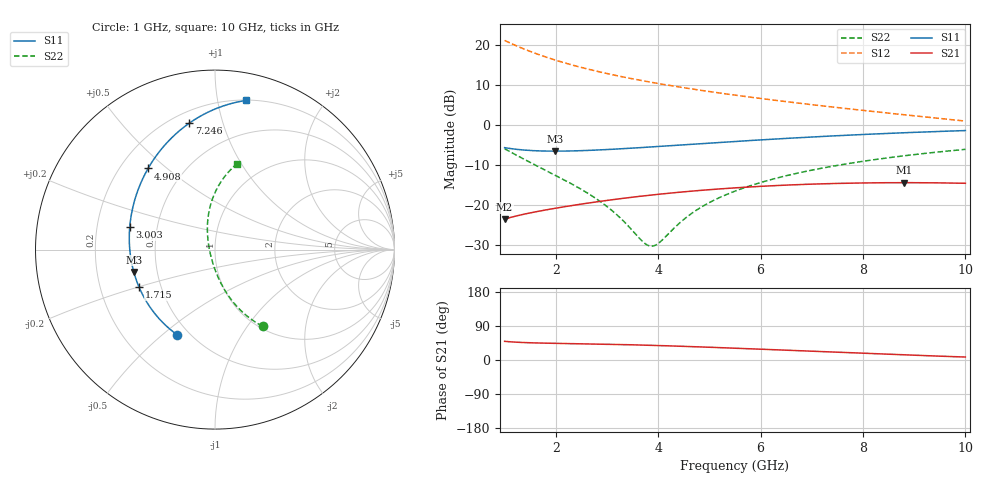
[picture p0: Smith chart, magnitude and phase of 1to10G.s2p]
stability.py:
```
import matplotlib.pyplot as plt
import numpy as np
import skrf as rf

plt.rcParams['figure.figsize'] = [8, 8]

# Load the S-parameter file
bjt = rf.Network('1to10G.s2p', )

# Define a function to calculate the square of the absolute value


def sqabs(x): return np.square(np.absolute(x))


# delta is the determinant of the S-parameter matrix
delta = bjt.s11.s * bjt.s22.s - bjt.s12.s * bjt.s21.s

# Source and load reflection coefficients
# rs and rl are the source and load reflection coefficients
# cs and cl are the source and load circle centers
rs = np.abs((bjt.s12.s * bjt.s21.s) / (sqabs(bjt.s11.s) - sqabs(delta)))
cs = np.conj(bjt.s11.s - delta * np.conj(bjt.s22.s)) / \
    (sqabs(bjt.s11.s) - sqabs(delta))
rl = np.abs((bjt.s12.s * bjt.s21.s) / (sqabs(bjt.s22.s) - sqabs(delta)))
cl = np.conj(bjt.s22.s - delta * np.conj(bjt.s11.s)) / \
    (sqabs(bjt.s22.s) - sqabs(delta))

# k calculation
k = (1 - sqabs(bjt.s11.s) - sqabs(bjt.s22.s) + sqabs(delta)) / \
    (2 * np.abs(bjt.s12.s * bjt.s21.s))

mu = (1 - sqabs(bjt.s11.s)) / (np.abs(bjt.s22.s -
                                      (delta*np.conj(bjt.s11.s)))+np.abs(bjt.s21.s*bjt.s12.s))

# MAximum available gain (MAG) calculation
MAG = np.abs(bjt.s12.s/bjt.s21.s) * (k-np.sqrt(np.square(k)-1))

# Function to generate stability circle points


def calc_circle(c, r):
    theta = np.linspace(0, 2*np.pi, 1000)
    return c + r * np.exp(1.0j*theta)


# Filter for 4 GHz
freq_idx = np.where(np.isclose(bjt.f, 4e9, atol=1e6))[
    0][0]
freq_point = bjt[freq_idx]

# Generate stability circles for 4 GHz
source_circle = calc_circle(cs[freq_idx][0, 0], rs[freq_idx][0, 0])
load_circle = calc_circle(cl[freq_idx][0, 0], rl[freq_idx][0, 0])

# Plot S11 and S22 for 4 GHz
plt.figure()
s11 = freq_point.s11.s[0, 0]  # Extrair o valor numérico de S11
s22 = freq_point.s22.s[0, 0]  # Extrair o valor numérico de S22
print('S11:', s11)
print('S22:', s22)
print('|s11|: ', np.abs(s11))
print('|s22|: ', np.abs(s22))

# Adicionar os valores numéricos ao gráfico
freq_point.plot_s_smith(
    m=0, n=0, label=f'S11 = {s11}', marker='o', color='green')  # S11
freq_point.plot_s_smith(
    m=1, n=1, label=f'S22 = {s22}', marker='o', color='purple')  # S22

# Calcular B1, B2, C1 e C2
delta4GHz = delta[freq_idx][0, 0]
print('delta4GHz:', delta4GHz)
B1 = 1 + sqabs(s11) - sqabs(s22) - sqabs(delta4GHz)
print('B1:', B1)
B2 = 1 + sqabs(s22) - sqabs(s11) - sqabs(delta4GHz)
print('B2:', B2)
C1 = s11 - (delta4GHz * np.conj(s22))
print('C1:', C1)
C2 = s22 - (delta4GHz * np.conj(s11))
print('C2:', C2)

# Calcular ros (ρs) e rol (ρL)
ros = (B1 - np.sqrt(np.square(B1) - 4 * sqabs(C1))) / (2 * C1)
rol = (B2 - np.sqrt(np.square(B2) - 4 * sqabs(C2))) / (2 * C2)

# Exibir os resultados para 4 GHz
print("Frequency (GHz):", bjt.f[freq_idx] / 1e9)
print("ros (ρs):", ros)
print("rol (ρL):", rol)

zs = (1 + ros) / (1 - ros)
print("zs:", zs)
zl = (1 + rol) / (1 - rol)
print("zl:", zl)

# Plot source stability circle
n_source = rf.Network(frequency=rf.Frequency(
    bjt.f[freq_idx], unit='Hz'), s=source_circle)
n_source.plot_s_smith(color='red', label='Source Stability Circle', marker='')

# Plot load stability circle
n_load = rf.Network(frequency=rf.Frequency(
    bjt.f[freq_idx], unit='Hz'), s=load_circle)
n_load.plot_s_smith(color='blue', label='Load Stability Circle', marker='')

rf.plotting.plot_smith(zl, marker='o', color='blue',
                       label=f'Zl = {zl}')  # Plot Zl
rf.plotting.plot_smith(zs, marker='o', color='red',
                       label=f'Zs = {zs}')  # Plot Z

plt.title(f'Frequency: {bjt.f[freq_idx]/1e9} GHz')
plt.legend()
plt.tight_layout()
plt.show()

k = np.squeeze(k)  # Remove any singleton dimensions
delta = np.squeeze(delta)  # Remove any singleton dimensions
mu = np.squeeze(mu)  # Remove any singleton dimensions
MAG = np.squeeze(MAG)  # Remove any singleton dimensions

# Print MAG at 4 Ghz
val = MAG[np.where(np.isclose(bjt.f, 4e9, atol=1e6))]
print('MAG at 4 GHz:', sum(val)/len(val))

# Plotting k values
plt.figure()
plt.plot(bjt.f/1e9, k)
plt.plot(bjt.f/1e9, np.abs(delta))
plt.plot(bjt.f/1e9, mu)
plt.plot(bjt.f/1e9, MAG)
# add line in 4 Ghz
plt.axvline(x=4, color='gray', linestyle='--')
plt.title('K Factor')
plt.xlabel('Frequency (GHz)')
plt.ylabel('K')
plt.grid()
plt.legend(['K', '|$\Delta$|', '$\mu$', 'MAG'])
plt.show()
```
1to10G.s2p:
# Hz S RI R 50
! Freq.	S11(V2)	S12(V2)	S21(V2)	S22(V2)
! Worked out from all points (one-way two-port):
!   10001 points, 1 GHz to 10 GHz, reference 50 ohm
!   highest |S21| = -14.45 dB at 8.798 GHz (marker M1); lowest = -23.6 dB at 1 GHz (marker M2)
!   lowest |S11| = -6.6 dB at 1.987 GHz (marker M3), VSWR 2.77, Z = 18.3 - j5.85 ohm
!   |S11| at or under -10 dB: nowhere
!   |S22| runs from -30.3 to -6.0 dB; largest |S21 - S12| = 11
!   S11 on the Smith chart (normalised r, x): 1 GHz: 0.43, -0.56; 1.715 GHz: 0.38, -0.20; 3.003 GHz: 0.35, +0.12; 4.908 GHz: 0.31, +0.43; 7.246 GHz: 0.27, +0.78; 10 GHz: 0.20, +1.21
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1e9  -0.2112 -0.4741  0.0433 0.0503  -4.068 10.59  0.2653 -0.4269
1.320079e9  -0.341 -0.3494  0.0518 0.0543  -1.65 9.045  0.1607 -0.355
1.714747e9  -0.4231 -0.2092  0.0601 0.0594  -0.0174 7.371  0.0876 -0.2753
1.987467e9  -0.4526 -0.1244  0.0653 0.063  0.6504 6.426  0.056 -0.2286
3.003309e9  -0.4749 0.127  0.0851 0.0756  1.758 4.004  -0.00582 -0.0948
3.871685e9  -0.4426 0.2919  0.1037 0.0831  2.019 2.733  -0.0299 -0.00585
4.907949e9  -0.3729 0.4521  0.1269 0.086  2.041 1.705  -0.042 0.0899
5.500473e9  -0.3224 0.5295  0.1397 0.0844  1.982 1.267  -0.0418 0.1427
7.246028e9  -0.1436 0.7042  0.1706 0.0681  1.672 0.3829  -0.0109 0.2913
8.798325e9  0.0344 0.7963  0.1842 0.0444  1.337 -0.0613  0.054 0.4069
1e10  0.1723 0.831  0.1845 0.0253  1.085 -0.2591  0.1234 0.4785
